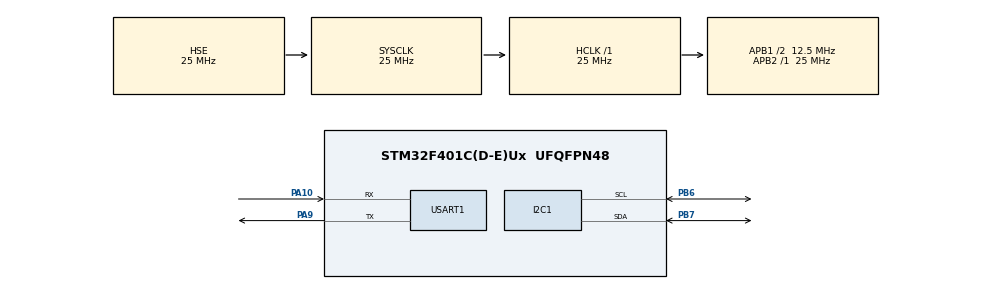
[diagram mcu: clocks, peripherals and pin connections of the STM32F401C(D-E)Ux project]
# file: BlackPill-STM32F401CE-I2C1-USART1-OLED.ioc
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Mcu.Family=STM32F4
Mcu.Name=STM32F401C(D-E)Ux
Mcu.Package=UFQFPN48
NVIC.PriorityGroup=NVIC_PRIORITYGROUP_4
PA10.Mode=Asynchronous
PA10.Signal=USART1_RX
PA13.Mode=Serial_Wire
PA13.Signal=SYS_JTMS-SWDIO
PA14.Mode=Serial_Wire
PA14.Signal=SYS_JTCK-SWCLK
PA9.Mode=Asynchronous
PA9.Signal=USART1_TX
PB6.Mode=I2C
PB6.Signal=I2C1_SCL
PB7.Mode=I2C
PB7.Signal=I2C1_SDA
PH0\ -\ OSC_IN.Mode=HSE-External-Oscillator
PH0\ -\ OSC_IN.Signal=RCC_OSC_IN
PH1\ -\ OSC_OUT.Mode=HSE-External-Oscillator
PH1\ -\ OSC_OUT.Signal=RCC_OSC_OUT
ProjectManager.HeapSize=0x200
ProjectManager.StackSize=0x400
ProjectManager.TargetToolchain=STM32CubeIDE
RCC.48MHZClocksFreq_Value=48000000
RCC.AHBFreq_Value=25000000
RCC.APB1CLKDivider=RCC_HCLK_DIV2
RCC.APB1Freq_Value=12500000
RCC.APB1TimFreq_Value=25000000
RCC.APB2Freq_Value=25000000
RCC.APB2TimFreq_Value=25000000
RCC.CortexFreq_Value=25000000
RCC.HCLKFreq_Value=25000000
RCC.HSE_VALUE=25000000
RCC.HSI_VALUE=16000000
RCC.LSE_VALUE=32768
RCC.PLLM=25
RCC.PLLSourceVirtual=RCC_PLLSOURCE_HSE
RCC.SYSCLKFreq_VALUE=25000000
RCC.SYSCLKSource=RCC_SYSCLKSOURCE_HSE
RCC.VCOOutputFreq_Value=192000000
USART1.VirtualMode=VM_ASYNC
board=custom

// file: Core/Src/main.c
/* USER CODE BEGIN Header */
/**
  ******************************************************************************
  * @file           : main.c
  * @brief          : Main program body
  ******************************************************************************
  * @attention
  *
  * <h2><center>&copy; Copyright (c) 2020 STMicroelectronics.
  * All rights reserved.</center></h2>
  *
  * This software component is licensed by ST under BSD 3-Clause license,
  * the "License"; You may not use this file except in compliance with the
  * License. You may obtain a copy of the License at:
  *                        opensource.org/licenses/BSD-3-Clause
  *
  ******************************************************************************
  */
/* USER CODE END Header */
#include "main.h"

/* USER CODE BEGIN Includes */
#include <stdio.h>
#include <string.h>
#include <stdint.h>
#include "fonts.h"
#include "ssd1306.h"
#include "test.h"
/* USER CODE END Includes */

/* USER CODE BEGIN PD */

#define FAHRENHEIT

/* USER CODE END PD */

I2C_HandleTypeDef hi2c1;

UART_HandleTypeDef huart1;

/* USER CODE BEGIN PV */
static const uint8_t TMP102_ADDR = 0x48 << 1;		// 8-bit I2C address
static const uint8_t REG_TEMP = 0x00;				// TMP102 Temperature Register

/* USER CODE END PV */

void SystemClock_Config(void);
static void MX_GPIO_Init(void);
static void MX_I2C1_Init(void);
static void MX_USART1_UART_Init(void);

int main(void)
{
  /* USER CODE BEGIN 1 */
  char				combuf[128];						// for uart and i2c
  char				whole[16], fraction[16];			// temperature strings
  char				*cptr;								// misc character pointer
  HAL_StatusTypeDef	status;								// i2c status
  int16_t			value;								// integer value
  float				celsius;							// float value

  /* USER CODE END 1 */

  /* MCU Configuration--------------------------------------------------------*/

  /* Reset of all peripherals, Initializes the Flash interface and the Systick. */
  HAL_Init();

  /* Configure the system clock */
  SystemClock_Config();

  /* Initialize all configured peripherals */
  MX_GPIO_Init();
  MX_I2C1_Init();
  MX_USART1_UART_Init();
  /* USER CODE BEGIN 2 */
  SSD1306_Init();  // initialise

  SSD1306_GotoXY (0,0);
  SSD1306_Puts ("Temperature", &Font_11x18, 1);
  SSD1306_GotoXY (10, 30);
  SSD1306_Puts ("Sensor", &Font_11x18, 1);
  SSD1306_UpdateScreen();

  HAL_Delay (2000);

  // Just a cool pattern for fun.
  twist(1);
  HAL_Delay (2000);

  /* USER CODE END 2 */

  /* Infinite loop */
  /* USER CODE BEGIN WHILE */
  while (1)
  {
	  combuf[0] = REG_TEMP;
	  status = HAL_I2C_Master_Transmit(&hi2c1, TMP102_ADDR, (uint8_t *) combuf, 1, HAL_MAX_DELAY);
	  if(status != HAL_OK)
	  {
		  strcpy(combuf, "Tx Err\n");
	  }
	  else
	  {
		  status = HAL_I2C_Master_Receive(&hi2c1, TMP102_ADDR, (uint8_t *) combuf, sizeof(short), HAL_MAX_DELAY);
	  }

	  if(status != HAL_OK)
	  {
		  strcpy(combuf, "Rx Err\n");
	  }
	  else
	  {
		  value = ((int16_t) combuf[0] << 4) | ((int16_t) combuf[1] >> 4);

		  if(value > 0x7FF)
		  {
			  value |= 0xF000;
		  }

		  celsius = value * 0.0625;
	  }

	  if(status == HAL_OK)
	  {
		  // We could enable floating point for printf()/sprintf() but that's a large library
		  // for a single conversion.  Instead, we multiply by 100, convert to a string, and
		  // print it in two parts with a decimal point between.
#ifdef FAHRENHEIT
		  value = (int16_t) ((1.8*celsius+32.0) * 100.0);
#else
		  value = (int16_t) (celsius * 100.0);
#endif
		  if(value == 0)
		  {
			  strcpy(whole, "0");
			  strcpy(fraction, "00");
		  }
		  else
		  {
			  sprintf(whole, "%d\n", value);
			  cptr = &whole[strlen(whole) - 2 - 1];
			  strcpy(fraction, cptr);					// copy only the last two digits
			  *cptr = '\0';								// terminate at the 1st fractional digit
		  }

		  strcpy(combuf, whole);
		  strcat(combuf, ".");
		  strcat(combuf, fraction);
	  }

	  HAL_UART_Transmit(&huart1, (uint8_t *) combuf, strlen(combuf), 1000);

	/* Clear screen */
	SSD1306_Fill(SSD1306_COLOR_BLACK);

	// Roughly center the temperature in the display.
	SSD1306_GotoXY(16, 26);

	cptr = strchr(combuf, '\n');
	if(cptr != NULL)
	{
		*cptr = '\0';
	}

	SSD1306_Puts(combuf, &Font_16x26, 1);
	/* Update screen */
	SSD1306_UpdateScreen();
	HAL_Delay(1000);

    /* USER CODE END WHILE */

  }
}

void SystemClock_Config(void)
{
  RCC_OscInitTypeDef RCC_OscInitStruct = {0};
  RCC_ClkInitTypeDef RCC_ClkInitStruct = {0};

  /** Configure the main internal regulator output voltage
  */
  __HAL_RCC_PWR_CLK_ENABLE();
  __HAL_PWR_VOLTAGESCALING_CONFIG(PWR_REGULATOR_VOLTAGE_SCALE2);
  /** Initializes the RCC Oscillators according to the specified parameters
  * in the RCC_OscInitTypeDef structure.
  */
  RCC_OscInitStruct.OscillatorType = RCC_OSCILLATORTYPE_HSE;
  RCC_OscInitStruct.HSEState = RCC_HSE_ON;
  RCC_OscInitStruct.PLL.PLLState = RCC_PLL_NONE;
  if (HAL_RCC_OscConfig(&RCC_OscInitStruct) != HAL_OK)
  {
    Error_Handler();
  }
  /** Initializes the CPU, AHB and APB buses clocks
  */
  RCC_ClkInitStruct.ClockType = RCC_CLOCKTYPE_HCLK|RCC_CLOCKTYPE_SYSCLK
                              |RCC_CLOCKTYPE_PCLK1|RCC_CLOCKTYPE_PCLK2;
  RCC_ClkInitStruct.SYSCLKSource = RCC_SYSCLKSOURCE_HSE;
  RCC_ClkInitStruct.AHBCLKDivider = RCC_SYSCLK_DIV1;
  RCC_ClkInitStruct.APB1CLKDivider = RCC_HCLK_DIV2;
  RCC_ClkInitStruct.APB2CLKDivider = RCC_HCLK_DIV1;

  if (HAL_RCC_ClockConfig(&RCC_ClkInitStruct, FLASH_LATENCY_0) != HAL_OK)
  {
    Error_Handler();
  }
}

static void MX_I2C1_Init(void)
{

  hi2c1.Instance = I2C1;
  hi2c1.Init.ClockSpeed = 400000;
  hi2c1.Init.DutyCycle = I2C_DUTYCYCLE_2;
  hi2c1.Init.OwnAddress1 = 0;
  hi2c1.Init.AddressingMode = I2C_ADDRESSINGMODE_7BIT;
  hi2c1.Init.DualAddressMode = I2C_DUALADDRESS_DISABLE;
  hi2c1.Init.OwnAddress2 = 0;
  hi2c1.Init.GeneralCallMode = I2C_GENERALCALL_DISABLE;
  hi2c1.Init.NoStretchMode = I2C_NOSTRETCH_DISABLE;
  if (HAL_I2C_Init(&hi2c1) != HAL_OK)
  {
    Error_Handler();
  }

}

static void MX_USART1_UART_Init(void)
{

  huart1.Instance = USART1;
  huart1.Init.BaudRate = 115200;
  huart1.Init.WordLength = UART_WORDLENGTH_8B;
  huart1.Init.StopBits = UART_STOPBITS_1;
  huart1.Init.Parity = UART_PARITY_NONE;
  huart1.Init.Mode = UART_MODE_TX_RX;
  huart1.Init.HwFlowCtl = UART_HWCONTROL_NONE;
  huart1.Init.OverSampling = UART_OVERSAMPLING_16;
  if (HAL_UART_Init(&huart1) != HAL_OK)
  {
    Error_Handler();
  }

}

static void MX_GPIO_Init(void)
{

  /* GPIO Ports Clock Enable */
  __HAL_RCC_GPIOH_CLK_ENABLE();
  __HAL_RCC_GPIOA_CLK_ENABLE();
  __HAL_RCC_GPIOB_CLK_ENABLE();

}

void Error_Handler(void)
{
  __disable_irq();
  while (1)
  {
  }
}

/************************ (C) COPYRIGHT STMicroelectronics *****END OF FILE****/
